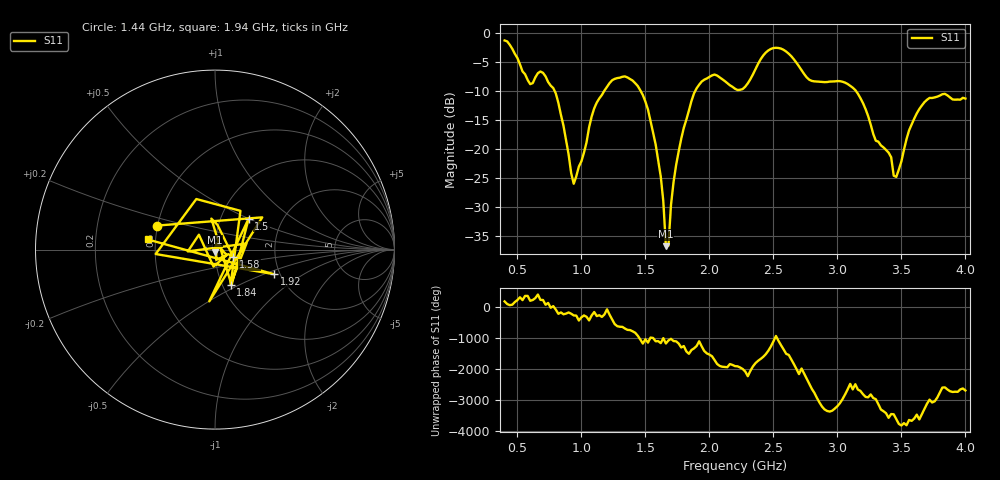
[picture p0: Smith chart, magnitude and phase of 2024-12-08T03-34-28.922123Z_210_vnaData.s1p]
!Created with skrf (http://scikit-rf.org).
# Hz S RI R 50.0
!freq ReS11 ImS11
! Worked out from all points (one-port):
!   181 points, 400 MHz to 4 GHz, reference 50 ohm
!   lowest |S11| = -36.7 dB at 1.66 GHz (marker M1), VSWR 1.03, Z = 49.9 - j1.45 ohm
!   |S11| at or under -10 dB: 789.8 MHz to 1.179 GHz (389.6 MHz wide, 39.6 % of centre); 1.462 GHz to 1.89 GHz (428.8 MHz wide, 25.6 % of centre); 3.143 GHz to end of sweep
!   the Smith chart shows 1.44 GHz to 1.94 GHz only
!   S11 on the Smith chart (normalised r, x): 1.44 GHz: 0.50, +0.15; 1.5 GHz: 1.35, +0.50; 1.58 GHz: 1.22, -0.10; 1.84 GHz: 1.09, -0.45; 1.92 GHz: 1.86, -0.58; 1.94 GHz: 0.45, +0.06
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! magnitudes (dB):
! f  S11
! 400 MHz  -1.4
! 600 MHz  -8.9
! 720 MHz  -7.5
! 860 MHz  -16.0
! 940 MHz  -26.0
! 1.1 GHz  -13.0
! 1.3 GHz  -7.8
! 1.44 GHz  -9.2
! 1.5 GHz  -11.9
! 1.58 GHz  -19.2
! 1.64 GHz  -29.0
! 1.66 GHz  -36.7
! 1.68 GHz  -36.7
! 1.7 GHz  -29.6
! 1.76 GHz  -20.4
! 1.84 GHz  -13.4
! 1.92 GHz  -9.0
! 1.94 GHz  -8.4
! 2.2 GHz  -9.7
! 2.48 GHz  -2.8
! 2.66 GHz  -4.6
! 2.78 GHz  -8.1
! 3.1 GHz  -9.2
! 3.42 GHz  -21.4
! 3.44 GHz  -24.6
! 3.56 GHz  -16.8
! 3.72 GHz  -11.2
! 4 GHz  -11.3
